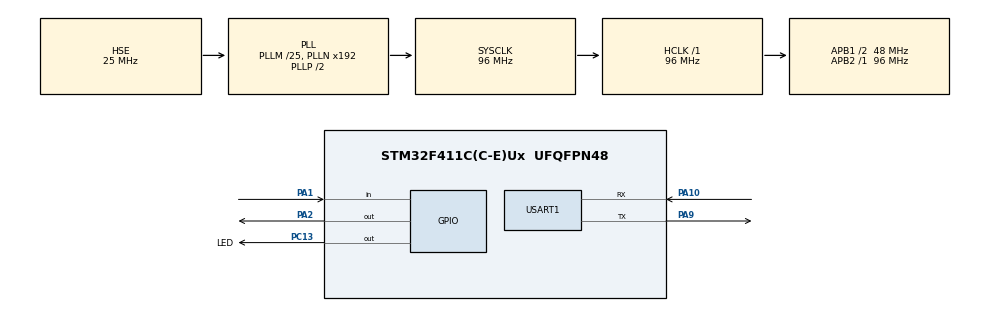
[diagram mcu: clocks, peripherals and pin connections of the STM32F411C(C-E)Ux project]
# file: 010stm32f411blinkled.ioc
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Dma.Request0=USART1_TX
Dma.USART1_TX.0.Direction=DMA_MEMORY_TO_PERIPH
Dma.USART1_TX.0.FIFOMode=DMA_FIFOMODE_DISABLE
Dma.USART1_TX.0.Instance=DMA2_Stream7
Dma.USART1_TX.0.MemDataAlignment=DMA_MDATAALIGN_BYTE
Dma.USART1_TX.0.MemInc=DMA_MINC_ENABLE
Dma.USART1_TX.0.Mode=DMA_NORMAL
Dma.USART1_TX.0.PeriphDataAlignment=DMA_PDATAALIGN_BYTE
Dma.USART1_TX.0.PeriphInc=DMA_PINC_DISABLE
Dma.USART1_TX.0.Priority=DMA_PRIORITY_LOW
Mcu.Family=STM32F4
Mcu.Name=STM32F411C(C-E)Ux
Mcu.Package=UFQFPN48
NVIC.DMA2_Stream7_IRQn=true\:0\:0\:false\:false\:true\:false\:true\:true
NVIC.PriorityGroup=NVIC_PRIORITYGROUP_4
NVIC.USART1_IRQn=true\:0\:0\:false\:false\:true\:true\:true\:true
PA1.Signal=GPIO_Input
PA10.Mode=Asynchronous
PA10.Signal=USART1_RX
PA13.Mode=Trace_Asynchronous_SW
PA13.Signal=SYS_JTMS-SWDIO
PA14.Mode=Trace_Asynchronous_SW
PA14.Signal=SYS_JTCK-SWCLK
PA2.Signal=GPIO_Output
PA9.Mode=Asynchronous
PA9.Signal=USART1_TX
PB3.Mode=Trace_Asynchronous_SW
PB3.Signal=SYS_JTDO-SWO
PC13-ANTI_TAMP.GPIO_Label=LED
PC13-ANTI_TAMP.Signal=GPIO_Output
PH0\ -\ OSC_IN.Mode=HSE-External-Oscillator
PH0\ -\ OSC_IN.Signal=RCC_OSC_IN
PH1\ -\ OSC_OUT.Mode=HSE-External-Oscillator
PH1\ -\ OSC_OUT.Signal=RCC_OSC_OUT
ProjectManager.HeapSize=0x200
ProjectManager.StackSize=0x400
ProjectManager.TargetToolchain=STM32CubeIDE
RCC.48MHZClocksFreq_Value=48000000
RCC.AHBFreq_Value=96000000
RCC.APB1CLKDivider=RCC_HCLK_DIV2
RCC.APB1Freq_Value=48000000
RCC.APB1TimFreq_Value=96000000
RCC.APB2Freq_Value=96000000
RCC.APB2TimFreq_Value=96000000
RCC.CortexFreq_Value=96000000
RCC.HCLKFreq_Value=96000000
RCC.HSE_VALUE=25000000
RCC.HSI_VALUE=16000000
RCC.LSE_VALUE=32768
RCC.PLLM=25
RCC.PLLSourceVirtual=RCC_PLLSOURCE_HSE
RCC.SYSCLKFreq_VALUE=96000000
RCC.SYSCLKSource=RCC_SYSCLKSOURCE_PLLCLK
RCC.VCOOutputFreq_Value=192000000
TIM2.Period=65535
TIM2.Prescaler=95
USART1.VirtualMode=VM_ASYNC
VP_TIM2_VS_ClockSourceINT.Mode=Internal
board=custom

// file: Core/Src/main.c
/* USER CODE BEGIN Header */
/**
 ******************************************************************************
 * @file           : main.c
 * @brief          : Main program body
 ******************************************************************************
 * @attention
 *
 * Copyright (c) 2026 STMicroelectronics.
 * All rights reserved.
 *
 * This software is licensed under terms that can be found in the LICENSE file
 * in the root directory of this software component.
 * If no LICENSE file comes with this software, it is provided AS-IS.
 *
 ******************************************************************************
 */
/* USER CODE END Header */
#include "main.h"

TIM_HandleTypeDef htim2;

UART_HandleTypeDef huart1;
DMA_HandleTypeDef hdma_usart1_tx;

void SystemClock_Config(void);
static void MX_GPIO_Init(void);
static void MX_DMA_Init(void);
static void MX_USART1_UART_Init(void);
static void MX_TIM2_Init(void);

/* USER CODE BEGIN 0 */

#define RX_BUFFER_SIZE 1
uint8_t rx_byte;
uint8_t rx_data;

char tx_buffer[64];

uint32_t delay = 500;

/* USER CODE END 0 */

int main(void) {

	/* MCU Configuration--------------------------------------------------------*/

	/* Reset of all peripherals, Initializes the Flash interface and the Systick. */
	HAL_Init();

	/* Configure the system clock */
	SystemClock_Config();

	/* Initialize all configured peripherals */
	MX_GPIO_Init();
	MX_DMA_Init();
	MX_USART1_UART_Init();
	MX_TIM2_Init();
	/* USER CODE BEGIN 2 */

	printf("You should see this text now\r\n");

	HAL_UART_Receive_IT(&huart1, &rx_byte, 1);

	strcpy(tx_buffer, "Welcome to STM32F411CEU6\r\n");
	HAL_UART_Transmit_DMA(&huart1, (uint8_t*) tx_buffer, strlen(tx_buffer));

	HAL_Delay(100);

	uint32_t local_time = 0;
	uint32_t distance = 0;

	HAL_TIM_Base_Start(&htim2);

	/* USER CODE END 2 */

	/* Infinite loop */
	/* USER CODE BEGIN WHILE */
	while (1) {
		HAL_GPIO_TogglePin(GPIOC, GPIO_PIN_13);
		HAL_Delay(delay);
		/* USER CODE END WHILE */

		/* USER CODE BEGIN 3 */
		// 1. Send a 10 microsecond pulse to the Trig pin PA2
		HAL_GPIO_WritePin(GPIOA, GPIO_PIN_2, GPIO_PIN_SET);

		// Tiny microsecond delay loop using our timer
		__HAL_TIM_SET_COUNTER(&htim2, 0);
		while (__HAL_TIM_GET_COUNTER(&htim2) < 10);

		HAL_GPIO_WritePin(GPIOA, GPIO_PIN_2, GPIO_PIN_RESET);

		// 2. Wait for the Echo pin (PA1) to go HIGH
		while (HAL_GPIO_ReadPin(GPIOA, GPIO_PIN_1) == GPIO_PIN_RESET);

		// 3. Start timing how long the Echo pin stays HIGH
		__HAL_TIM_SET_COUNTER(&htim2, 0);
		while (HAL_GPIO_ReadPin(GPIOA, GPIO_PIN_1) == GPIO_PIN_SET);

		local_time = __HAL_TIM_GET_COUNTER(&htim2);

		// 4. Calculate distance  in centimeters
		distance = local_time * 0.0343 / 2;

		// 5. Print out using your working
		printf("Distance: %lu cm\r\n", distance);
		HAL_Delay(100);
	}
	/* USER CODE END 3 */
}

void SystemClock_Config(void) {
	RCC_OscInitTypeDef RCC_OscInitStruct = { 0 };
	RCC_ClkInitTypeDef RCC_ClkInitStruct = { 0 };

	/** Configure the main internal regulator output voltage
	 */
	__HAL_RCC_PWR_CLK_ENABLE();
	__HAL_PWR_VOLTAGESCALING_CONFIG(PWR_REGULATOR_VOLTAGE_SCALE1);

	/** Initializes the RCC Oscillators according to the specified parameters
	 * in the RCC_OscInitTypeDef structure.
	 */
	RCC_OscInitStruct.OscillatorType = RCC_OSCILLATORTYPE_HSE;
	RCC_OscInitStruct.HSEState = RCC_HSE_ON;
	RCC_OscInitStruct.PLL.PLLState = RCC_PLL_ON;
	RCC_OscInitStruct.PLL.PLLSource = RCC_PLLSOURCE_HSE;
	RCC_OscInitStruct.PLL.PLLM = 25;
	RCC_OscInitStruct.PLL.PLLN = 192;
	RCC_OscInitStruct.PLL.PLLP = RCC_PLLP_DIV2;
	RCC_OscInitStruct.PLL.PLLQ = 4;
	if (HAL_RCC_OscConfig(&RCC_OscInitStruct) != HAL_OK) {
		Error_Handler();
	}

	/** Initializes the CPU, AHB and APB buses clocks
	 */
	RCC_ClkInitStruct.ClockType = RCC_CLOCKTYPE_HCLK | RCC_CLOCKTYPE_SYSCLK | RCC_CLOCKTYPE_PCLK1 | RCC_CLOCKTYPE_PCLK2;
	RCC_ClkInitStruct.SYSCLKSource = RCC_SYSCLKSOURCE_PLLCLK;
	RCC_ClkInitStruct.AHBCLKDivider = RCC_SYSCLK_DIV1;
	RCC_ClkInitStruct.APB1CLKDivider = RCC_HCLK_DIV2;
	RCC_ClkInitStruct.APB2CLKDivider = RCC_HCLK_DIV1;

	if (HAL_RCC_ClockConfig(&RCC_ClkInitStruct, FLASH_LATENCY_3) != HAL_OK) {
		Error_Handler();
	}
}

static void MX_TIM2_Init(void) {

	TIM_ClockConfigTypeDef sClockSourceConfig = { 0 };
	TIM_MasterConfigTypeDef sMasterConfig = { 0 };

	htim2.Instance = TIM2;
	htim2.Init.Prescaler = 95;
	htim2.Init.CounterMode = TIM_COUNTERMODE_UP;
	htim2.Init.Period = 65535;
	htim2.Init.ClockDivision = TIM_CLOCKDIVISION_DIV1;
	htim2.Init.AutoReloadPreload = TIM_AUTORELOAD_PRELOAD_DISABLE;
	if (HAL_TIM_Base_Init(&htim2) != HAL_OK) {
		Error_Handler();
	}
	sClockSourceConfig.ClockSource = TIM_CLOCKSOURCE_INTERNAL;
	if (HAL_TIM_ConfigClockSource(&htim2, &sClockSourceConfig) != HAL_OK) {
		Error_Handler();
	}
	sMasterConfig.MasterOutputTrigger = TIM_TRGO_RESET;
	sMasterConfig.MasterSlaveMode = TIM_MASTERSLAVEMODE_DISABLE;
	if (HAL_TIMEx_MasterConfigSynchronization(&htim2, &sMasterConfig) != HAL_OK) {
		Error_Handler();
	}

}

static void MX_USART1_UART_Init(void) {

	huart1.Instance = USART1;
	huart1.Init.BaudRate = 115200;
	huart1.Init.WordLength = UART_WORDLENGTH_8B;
	huart1.Init.StopBits = UART_STOPBITS_1;
	huart1.Init.Parity = UART_PARITY_NONE;
	huart1.Init.Mode = UART_MODE_TX_RX;
	huart1.Init.HwFlowCtl = UART_HWCONTROL_NONE;
	huart1.Init.OverSampling = UART_OVERSAMPLING_16;
	if (HAL_UART_Init(&huart1) != HAL_OK) {
		Error_Handler();
	}

}

static void MX_DMA_Init(void) {

	/* DMA controller clock enable */
	__HAL_RCC_DMA2_CLK_ENABLE();

	/* DMA interrupt init */
	/* DMA2_Stream7_IRQn interrupt configuration */
	HAL_NVIC_SetPriority(DMA2_Stream7_IRQn, 0, 0);
	HAL_NVIC_EnableIRQ(DMA2_Stream7_IRQn);

}

static void MX_GPIO_Init(void) {
	GPIO_InitTypeDef GPIO_InitStruct = { 0 };

	/* GPIO Ports Clock Enable */
	__HAL_RCC_GPIOC_CLK_ENABLE();
	__HAL_RCC_GPIOH_CLK_ENABLE();
	__HAL_RCC_GPIOA_CLK_ENABLE();
	__HAL_RCC_GPIOB_CLK_ENABLE();

	/*Configure GPIO pin Output Level */
	HAL_GPIO_WritePin(LED_GPIO_Port, LED_Pin, GPIO_PIN_RESET);

	/*Configure GPIO pin Output Level */
	HAL_GPIO_WritePin(GPIOA, GPIO_PIN_2, GPIO_PIN_RESET);

	/*Configure GPIO pin : LED_Pin */
	GPIO_InitStruct.Pin = LED_Pin;
	GPIO_InitStruct.Mode = GPIO_MODE_OUTPUT_PP;
	GPIO_InitStruct.Pull = GPIO_NOPULL;
	GPIO_InitStruct.Speed = GPIO_SPEED_FREQ_LOW;
	HAL_GPIO_Init(LED_GPIO_Port, &GPIO_InitStruct);

	/*Configure GPIO pin : PA1 */
	GPIO_InitStruct.Pin = GPIO_PIN_1;
	GPIO_InitStruct.Mode = GPIO_MODE_INPUT;
	GPIO_InitStruct.Pull = GPIO_NOPULL;
	HAL_GPIO_Init(GPIOA, &GPIO_InitStruct);

	/*Configure GPIO pin : PA2 */
	GPIO_InitStruct.Pin = GPIO_PIN_2;
	GPIO_InitStruct.Mode = GPIO_MODE_OUTPUT_PP;
	GPIO_InitStruct.Pull = GPIO_NOPULL;
	GPIO_InitStruct.Speed = GPIO_SPEED_FREQ_LOW;
	HAL_GPIO_Init(GPIOA, &GPIO_InitStruct);

}

/* USER CODE BEGIN 4 */
void HAL_UART_RxCpltCallback(UART_HandleTypeDef *huart) {
	if (huart->Instance == USART1) {
		rx_data = rx_byte;

		if (rx_data == '1') {
			delay = 1000;
			char reply[] = "Button 1 was pressed!\r\n";
			HAL_UART_Transmit_DMA(&huart1, (uint8_t*) reply, strlen(reply));
		}

		if (rx_data == '2') {
			delay = 100;
			char reply[] = "Button 2 was pressed!\r\n";
			HAL_UART_Transmit_DMA(&huart1, (uint8_t*) reply, strlen(reply));
		}

		HAL_UART_Receive_IT(&huart1, &rx_byte, RX_BUFFER_SIZE);
	}
}
/* USER CODE END 4 */

void Error_Handler(void) {
	__disable_irq();
	while (1) {
	}
}
